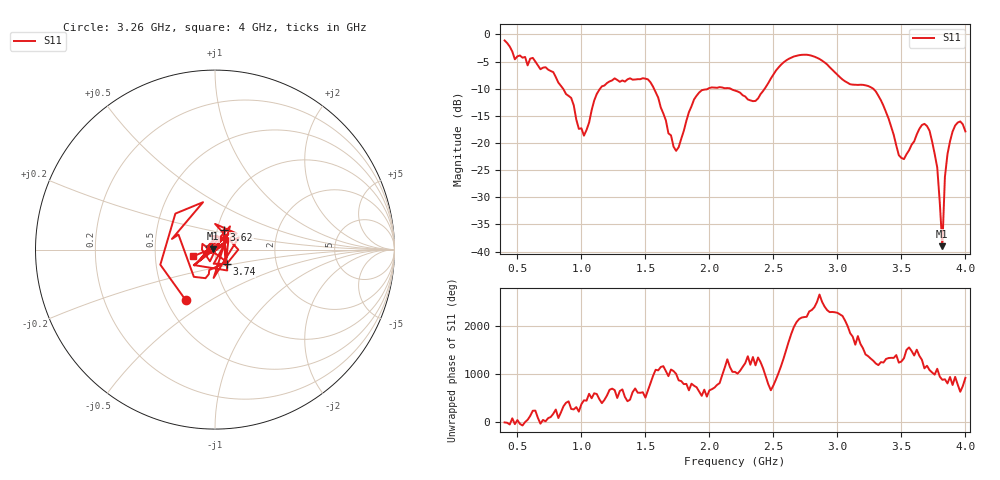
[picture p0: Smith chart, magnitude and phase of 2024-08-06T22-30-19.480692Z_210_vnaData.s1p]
!Created with skrf (http://scikit-rf.org).
# Hz S RI R 50.0
!freq ReS11 ImS11
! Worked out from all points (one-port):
!   181 points, 400 MHz to 4 GHz, reference 50 ohm
!   lowest |S11| = -39.0 dB at 3.82 GHz (marker M1), VSWR 1.02, Z = 49 + j0.43 ohm
!   |S11| at or under -10 dB: 856.5 MHz to 1.146 GHz (289.7 MHz wide, 28.9 % of centre); 1.567 GHz to 1.99 GHz (423 MHz wide, 23.8 % of centre); 3.28 GHz to end of sweep (the widest 3 of 4)
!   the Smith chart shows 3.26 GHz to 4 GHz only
!   S11 on the Smith chart (normalised r, x): 3.26 GHz: 0.62, -0.40; 3.62 GHz: 1.08, +0.24; 3.74 GHz: 1.12, -0.18; 4 GHz: 0.78, -0.06
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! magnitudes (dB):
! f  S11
! 400 MHz  -1.1
! 480 MHz  -4.6
! 620 MHz  -4.3
! 860 MHz  -10.1
! 1.02 GHz  -18.7
! 1.14 GHz  -10.2
! 1.3 GHz  -8.7
! 1.52 GHz  -8.3
! 1.72 GHz  -20.7
! 1.76 GHz  -20.8
! 1.92 GHz  -10.7
! 2.2 GHz  -10.3
! 2.36 GHz  -12.3
! 2.66 GHz  -4.1
! 3.1 GHz  -9.2
! 3.26 GHz  -9.7
! 3.36 GHz  -13.2
! 3.48 GHz  -22.3
! 3.56 GHz  -21.3
! 3.62 GHz  -18.4
! 3.68 GHz  -16.5
! 3.74 GHz  -19.7
! 3.78 GHz  -24.5
! 3.82 GHz  -39.0
! 3.84 GHz  -26.3
! 3.88 GHz  -19.7
! 3.94 GHz  -16.2
! 4 GHz  -17.9
